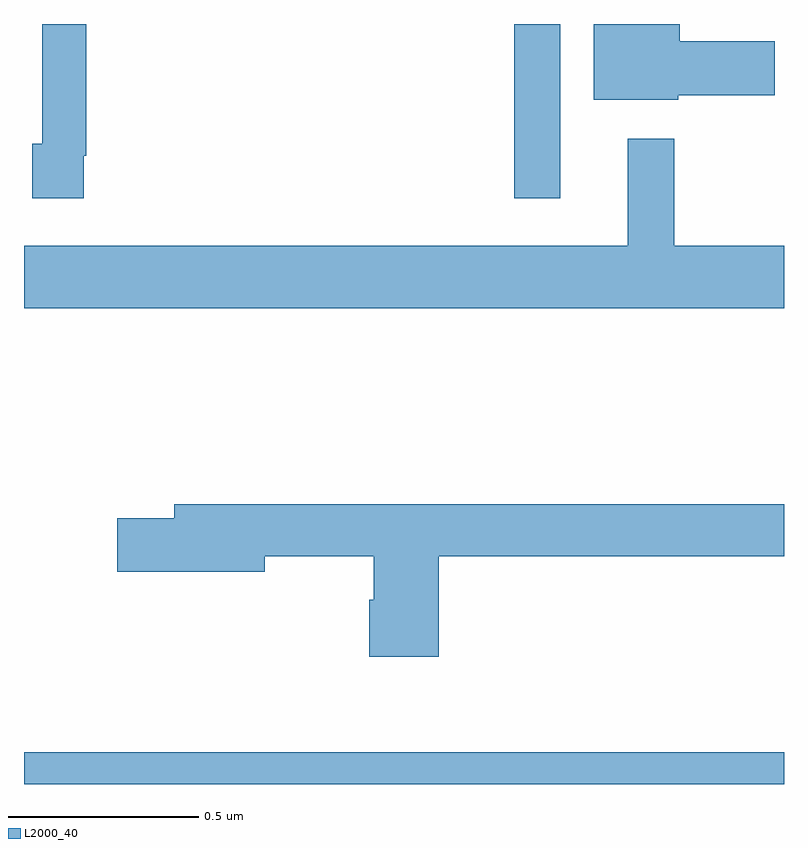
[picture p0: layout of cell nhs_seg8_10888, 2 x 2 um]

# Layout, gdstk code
import gdstk
lib = gdstk.Library(unit=1e-6, precision=1e-09)
def R(c, l, rs):  # rectangles x0, y0, x1, y1
    for r in rs: c.add(gdstk.rectangle(r[:2], r[2:], *l))
def P(c, l, *ps):  # polygons
    for p in ps: c.add(gdstk.Polygon(p, *l))
L2000_40 = (2000, 40)

nhs_seg8_10888 = lib.new_cell('nhs_seg8_10888')
R(nhs_seg8_10888, L2000_40, [(255,1129.9,257,1129.984), (256.29,1131.441,256.411,1131.9)])
P(nhs_seg8_10888, L2000_40, [(256.722,1131.712),(256.975,1131.712),(256.975,1131.854),(256.726,1131.854),(256.726,1131.9),(256.499,1131.9),(256.499,1131.701),(256.722,1131.701)],
  [(255.157,1131.553),(255.164,1131.553),(255.164,1131.9),(255.048,1131.9),(255.048,1131.585),(255.022,1131.585),(255.022,1131.441),(255.157,1131.441)],
  [(257,1131.316),(256.711,1131.316),(256.711,1131.598),(256.589,1131.598),(256.589,1131.316),(255,1131.316),(255,1131.152),(257,1131.152)],
  [(256.091,1130.5),(257,1130.5),(257,1130.636),(255.395,1130.636),(255.395,1130.6),(255.246,1130.6),(255.246,1130.458),(255.634,1130.458),(255.634,1130.5),(255.92,1130.5),(255.92,1130.385),(255.908,1130.385),(255.908,1130.235),(256.091,1130.235)])

lib.write_gds('nhs_seg8_10888.gds')
